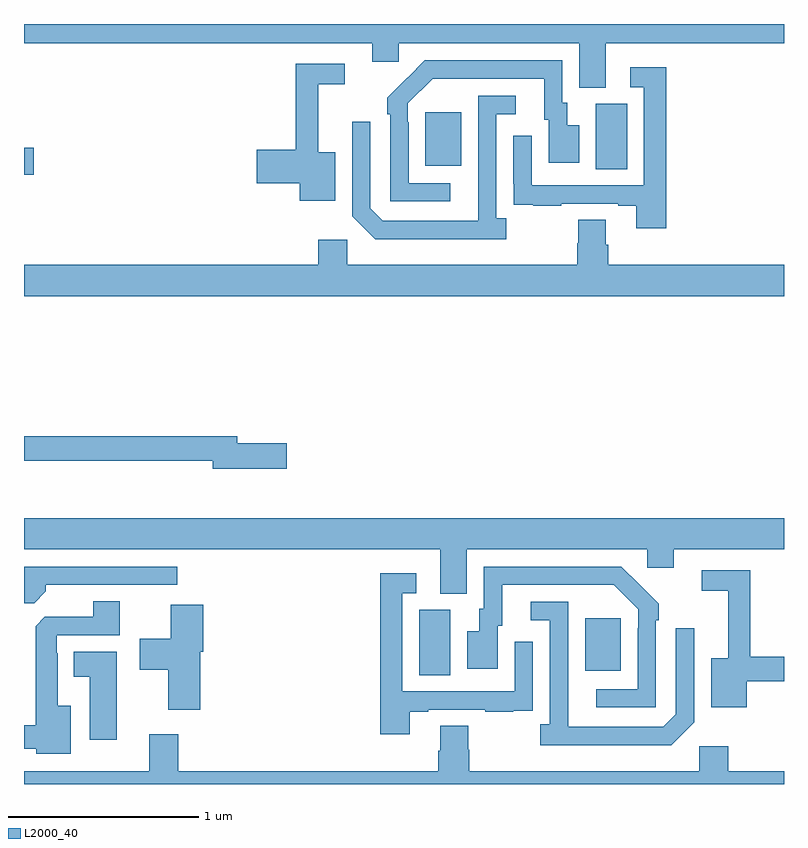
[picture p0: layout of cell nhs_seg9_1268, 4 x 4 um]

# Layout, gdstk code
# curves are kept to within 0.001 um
import gdstk
lib = gdstk.Library(unit=1e-6, precision=1e-09)
def R(c, l, rs):  # rectangles x0, y0, x1, y1
    for r in rs: c.add(gdstk.rectangle(r[:2], r[2:], *l))
def P(c, l, *ps):  # polygons
    for p in ps: c.add(gdstk.Polygon(p, *l))
L2000_40 = (2000, 40)

nhs_seg9_1268 = lib.new_cell('nhs_seg9_1268')
R(nhs_seg9_1268, L2000_40, [(183.08,1213.072,183.244,1213.416), (183.953,1213.097,184.141,1213.372), (181,1215.706,181.051,1215.848), (184.01,1215.736,184.174,1216.08), (183.113,1215.755,183.301,1216.036)])
P(nhs_seg9_1268, L2000_40, [(184.063,1216.4),(185,1216.4),(185,1216.5),(181,1216.5),(181,1216.4),(182.834,1216.4),(182.834,1216.302),(182.973,1216.302),(182.973,1216.4),(183.923,1216.4),(183.923,1216.165),(184.063,1216.165)],
  [(183.244,1215.663),(183.024,1215.663),(183.024,1215.983),(183.021,1215.983),(183.021,1216.083),(183.15,1216.212),(183.737,1216.212),(183.737,1215.996),(183.761,1215.996),(183.761,1215.771),(183.922,1215.771),(183.922,1215.967),(183.859,1215.967),(183.859,1216.086),(183.834,1216.086),(183.834,1216.308),(183.11,1216.308),(182.913,1216.113),(182.913,1216.025),(182.928,1216.025),(182.928,1215.567),(183.244,1215.567)],
  [(182.638,1215.826),(182.549,1215.826),(182.549,1216.182),(182.689,1216.182),(182.689,1216.29),(182.431,1216.29),(182.431,1215.839),(182.226,1215.839),(182.226,1215.661),(182.45,1215.661),(182.45,1215.569),(182.638,1215.569)],
  [(184.379,1216.273),(184.191,1216.273),(184.191,1216.167),(184.263,1216.167),(184.263,1215.651),(183.672,1215.651),(183.672,1215.913),(183.576,1215.913),(183.576,1215.658),(183.577,1215.658),(183.577,1215.549),(183.679,1215.549),(183.679,1215.543),(183.827,1215.543),(183.827,1215.555),(184.127,1215.555),(184.127,1215.543),(184.223,1215.543),(184.223,1215.426),(184.379,1215.426)],
  [(183.538,1215.478),(183.486,1215.478),(183.486,1216.026),(183.589,1216.026),(183.589,1216.122),(183.39,1216.122),(183.39,1215.465),(182.889,1215.465),(182.823,1215.531),(182.823,1215.985),(182.727,1215.985),(182.727,1215.489),(182.848,1215.368),(183.538,1215.368)],
  [(185,1215.232),(184.076,1215.232),(184.076,1215.338),(184.063,1215.338),(184.063,1215.47),(183.916,1215.47),(183.916,1215.345),(183.911,1215.345),(183.911,1215.232),(182.7,1215.232),(182.7,1215.364),(182.549,1215.364),(182.549,1215.232),(181,1215.232),(181,1215.068),(185,1215.068)],
  [(182.383,1214.294),(182.122,1214.294),(182.122,1214.33),(181,1214.33),(181,1214.202),(181.994,1214.202),(181.994,1214.159),(182.383,1214.159)],
  [(183.331,1213.736),(184.281,1213.736),(184.281,1213.638),(184.42,1213.638),(184.42,1213.736),(185,1213.736),(185,1213.9),(181,1213.9),(181,1213.736),(183.191,1213.736),(183.191,1213.501),(183.331,1213.501)],
  [(184.326,1213.361),(184.341,1213.361),(184.341,1213.449),(184.144,1213.644),(183.42,1213.644),(183.42,1213.422),(183.395,1213.422),(183.395,1213.303),(183.332,1213.303),(183.332,1213.107),(183.493,1213.107),(183.493,1213.332),(183.517,1213.332),(183.517,1213.548),(184.105,1213.548),(184.233,1213.419),(184.233,1213.319),(184.23,1213.319),(184.23,1212.999),(184.011,1212.999),(184.011,1212.903),(184.326,1212.903)],
  [(181.115,1213.514),(181.115,1213.548),(181.807,1213.548),(181.807,1213.644),(181,1213.644),(181,1213.452),(181.053,1213.452)],
  [(184.804,1213.041),(185,1213.041),(185,1213.169),(184.823,1213.169),(184.823,1213.626),(184.566,1213.626),(184.566,1213.518),(184.706,1213.518),(184.706,1213.162),(184.616,1213.162),(184.616,1212.905),(184.804,1212.905)],
  [(183.031,1212.879),(183.127,1212.879),(183.127,1212.891),(183.427,1212.891),(183.427,1212.879),(183.575,1212.879),(183.575,1212.885),(183.677,1212.885),(183.677,1212.994),(183.678,1212.994),(183.678,1213.249),(183.582,1213.249),(183.582,1212.987),(182.991,1212.987),(182.991,1213.503),(183.064,1213.503),(183.064,1213.609),(182.875,1213.609),(182.875,1212.762),(183.031,1212.762)],
  [(181.246,1212.913),(181.177,1212.913),(181.177,1213.187),(181.173,1213.187),(181.173,1213.284),(181.504,1213.284),(181.504,1213.463),(181.364,1213.463),(181.364,1213.38),(181.11,1213.38),(181.061,1213.331),(181.061,1212.808),(181,1212.808),(181,1212.686),(181.065,1212.686),(181.065,1212.659),(181.246,1212.659)],
  [(184.527,1212.825),(184.527,1213.321),(184.431,1213.321),(184.431,1212.867),(184.365,1212.801),(183.865,1212.801),(183.864,1213.458),(183.666,1213.458),(183.666,1213.362),(183.768,1213.362),(183.768,1212.814),(183.717,1212.814),(183.717,1212.704),(184.406,1212.704)],
  [(181.928,1213.195),(181.943,1213.195),(181.943,1213.444),(181.772,1213.444),(181.772,1213.264),(181.608,1213.264),(181.608,1213.102),(181.76,1213.102),(181.76,1212.891),(181.928,1212.891)],
  [(181.489,1213.195),(181.262,1213.195),(181.262,1213.064),(181.346,1213.064),(181.346,1212.732),(181.489,1212.732)],
  [(185,1212.568),(184.706,1212.568),(184.706,1212.7),(184.554,1212.7),(184.554,1212.568),(183.344,1212.568),(183.344,1212.681),(183.339,1212.681),(183.339,1212.806),(183.191,1212.806),(183.191,1212.674),(183.179,1212.674),(183.179,1212.568),(181.811,1212.568),(181.811,1212.763),(181.658,1212.763),(181.658,1212.568),(181,1212.568),(181,1212.5),(185,1212.5)])

lib.write_gds('nhs_seg9_1268.gds')
